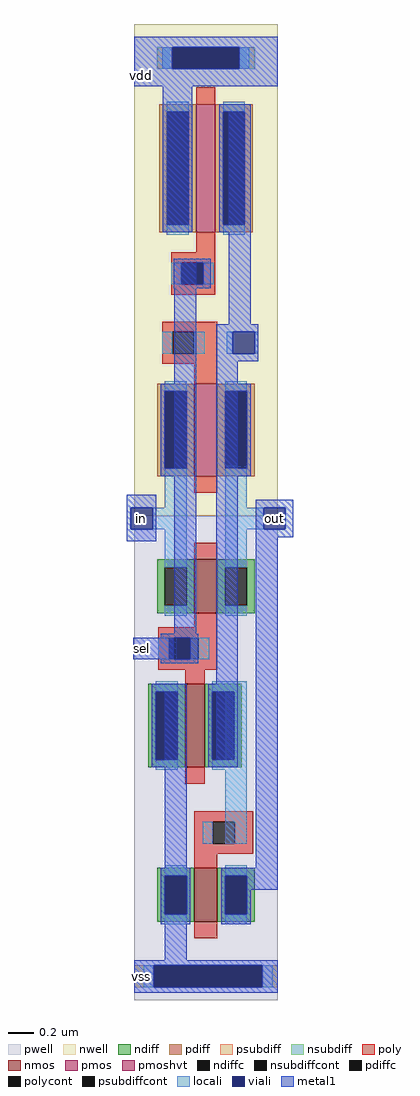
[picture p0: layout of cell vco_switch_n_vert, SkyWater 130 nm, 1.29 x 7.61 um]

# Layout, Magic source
magic
tech sky130A
magscale 1 2
<< nwell >>
rect -186 653 38 1420
<< pwell >>
rect -186 -102 38 653
<< ndiff >>
rect -53 92 -1 104
rect -53 32 -44 92
rect -10 32 -1 92
rect -53 20 -1 32
<< ndiffc >>
rect -44 32 -10 92
<< psubdiff >>
rect -186 -82 -155 -48
rect 14 -82 38 -48
<< nsubdiff >>
rect -150 1350 -126 1384
rect -22 1350 2 1384
<< psubdiffcont >>
rect -155 -82 14 -48
<< nsubdiffcont >>
rect -126 1350 -22 1384
<< locali >>
rect -142 1350 -126 1384
rect -22 1350 -6 1384
rect -41 906 -32 940
rect 2 906 8 940
rect -138 666 -104 711
rect -157 632 -104 666
rect -138 589 -104 632
rect -44 666 -10 731
rect -44 632 16 666
rect -44 577 -10 632
rect -44 142 -10 395
rect -44 92 -10 104
rect -44 16 -10 32
rect -171 -82 -155 -48
rect 14 -82 30 -48
<< viali >>
rect -126 1350 -22 1384
rect -32 906 2 940
rect -191 632 -157 666
rect 16 632 50 666
rect -138 32 -104 92
rect -44 32 -10 92
rect -155 -82 14 -48
<< metal1 >>
rect -186 1384 38 1400
rect -186 1350 -126 1384
rect -22 1350 38 1384
rect -186 1323 38 1350
rect -141 1095 -95 1323
rect -197 666 -151 686
rect -197 632 -191 666
rect -157 632 -151 666
rect -197 613 -151 632
rect -123 463 -89 1048
rect -38 952 -4 1295
rect -58 940 8 952
rect -58 906 -32 940
rect 2 906 8 940
rect -58 894 8 906
rect -187 429 -124 463
rect -138 104 -104 391
rect -58 261 -24 894
rect 4 666 62 678
rect 4 632 16 666
rect 50 632 62 666
rect 4 620 62 632
rect 4 104 38 620
rect -144 92 -98 104
rect -144 32 -138 92
rect -104 32 -98 92
rect -144 16 -98 32
rect -50 92 38 104
rect -50 32 -44 92
rect -10 70 38 92
rect -10 32 -4 70
rect -50 16 -4 32
rect -138 -40 -104 16
rect -186 -48 38 -40
rect -186 -82 -155 -48
rect 14 -82 38 -48
rect -186 -91 38 -82
use sky130_fd_pr__nfet_01v8_HGTGXE_v2  XMNTGATE
transform -1 0 -74 0 -1 512
box -76 -99 76 99
use sky130_fd_pr__nfet_01v8_HGTGXE_v2  XMNCLAMP
transform 1 0 -74 0 1 93
box -76 -99 76 99
use sky130_fd_pr__pfet_01v8_ACAZ2B_v2  XMPTGATE
transform 1 0 -74 0 1 823
box -112 -170 112 136
use sky130_fd_pr__pfet_01v8_hvt_BZS9EC  XMPINV1
transform 1 0 -74 0 1 1159
box -109 -164 109 198
use sky130_fd_pr__nfet_01v8_JS3BNU  XMNINV1
transform 1 0 -91 0 1 357
box -73 -122 73 122
<< labels >>
rlabel metal1 -197 613 -151 686 1 in
port 1 n
rlabel metal1 -187 429 -162 463 1 sel
port 2 n
rlabel metal1 4 620 62 678 1 out
port 3 n
rlabel pwell -186 -82 -164 -48 1 vss
port 4 n
rlabel metal1 -186 1323 -164 1357 1 vdd
port 5 n
<< end >>

# cell sky130_fd_pr__nfet_01v8_HGTGXE_v2: kit device sky130_fd_pr__nfet_01v8, w 0.42 l 0.18 m 1 nf 1 diffcov 100 polycov 100 guard 0 glc 0 grc 0 gtc 0 gbc 0 tbcov 100 rlcov 100 topc 1 botc 0 poverlap 0 doverlap 1 lmin 0.15 wmin 0.42 compatible {sky130_fd_pr__nfet_01v8 sky130_fd_pr__nfet_01v8_lvt sky130_fd_bs_flash__special_sonosfet_star sky130_fd_pr__nfet_g5v0d10v5 sky130_fd_pr__nfet_05v0_nvt sky130_fd_pr__nfet_03v3_nvt} full_metal 0 viasrc 100 viadrn 100 viagate 100 viagb 0 viagr 0 viagl 0 viagt 0

# cell sky130_fd_pr__pfet_01v8_ACAZ2B_v2: kit device sky130_fd_pr__pfet_01v8, w 0.72 l 0.18 m 1 nf 1 diffcov 100 polycov 100 guard 0 glc 0 grc 0 gtc 0 gbc 0 tbcov 100 rlcov 100 topc 1 botc 0 poverlap 0 doverlap 1 lmin 0.15 wmin 0.42 compatible {sky130_fd_pr__pfet_01v8 sky130_fd_pr__pfet_01v8_lvt sky130_fd_pr__pfet_01v8_hvt sky130_fd_pr__pfet_g5v0d10v5} full_metal 0 viasrc 100 viadrn 100 viagate 100 viagb 0 viagr 0 viagl 0 viagt 0

# cell sky130_fd_pr__pfet_01v8_hvt_BZS9EC: kit device sky130_fd_pr__pfet_01v8_hvt, w 1 l 0.15 m 1 nf 1 diffcov 100 polycov 100 guard 0 glc 0 grc 0 gtc 0 gbc 0 tbcov 100 rlcov 100 topc 0 botc 1 poverlap 0 doverlap 1 lmin 0.15 wmin 0.42 compatible {sky130_fd_pr__pfet_01v8 sky130_fd_pr__pfet_01v8_lvt sky130_fd_pr__pfet_01v8_hvt sky130_fd_pr__pfet_g5v0d10v5} full_metal 0 viasrc 100 viadrn 100 viagate 100 viagb 0 viagr 0 viagl 0 viagt 0

# cell sky130_fd_pr__nfet_01v8_JS3BNU: kit device sky130_fd_pr__nfet_01v8, w 0.650 l 0.150 m 1 nf 1 diffcov 100 polycov 100 guard 0 glc 0 grc 0 gtc 0 gbc 0 tbcov 100 rlcov 100 topc 1 botc 0 poverlap 0 doverlap 1 lmin 0.15 wmin 0.42 compatible {sky130_fd_pr__nfet_01v8 sky130_fd_pr__nfet_01v8_lvt sky130_fd_bs_flash__special_sonosfet_star sky130_fd_pr__nfet_g5v0d10v5 sky130_fd_pr__nfet_05v0_nvt sky130_fd_pr__nfet_03v3_nvt} full_metal 0 viasrc 100 viadrn 100 viagate 100 viagb 0 viagr 0 viagl 0 viagt 0
